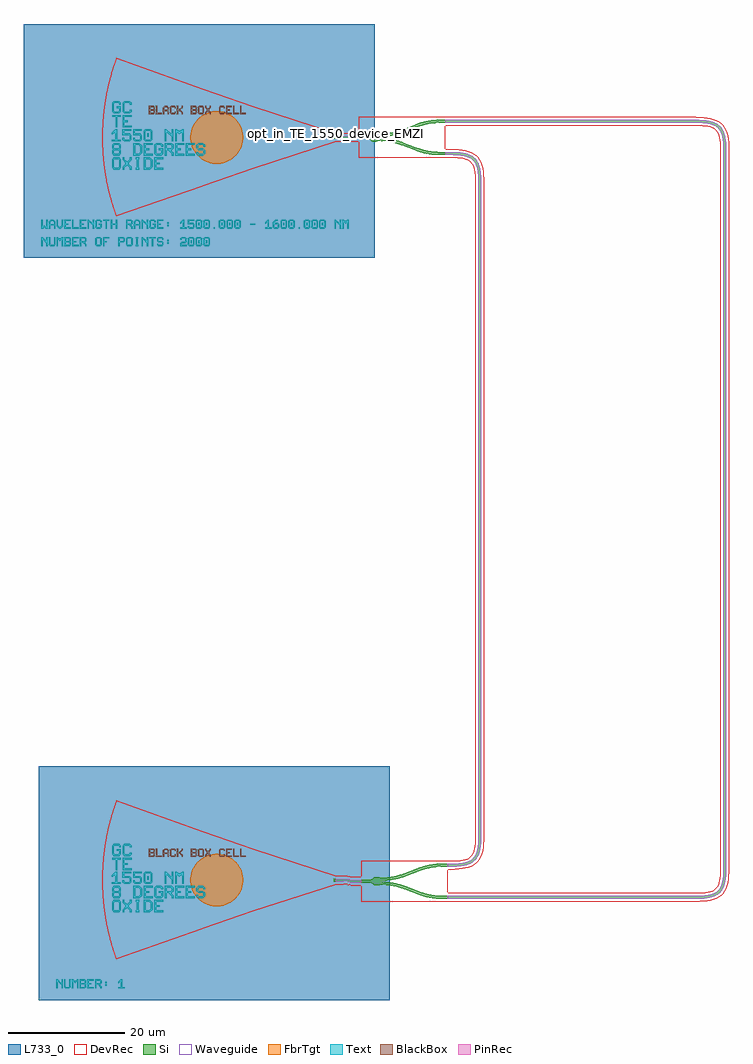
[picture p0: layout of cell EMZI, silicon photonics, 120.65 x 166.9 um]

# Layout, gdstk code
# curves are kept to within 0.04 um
import gdstk
lib = gdstk.Library(unit=1e-6, precision=1e-09)
def R(c, l, rs):  # rectangles x0, y0, x1, y1
    for r in rs: c.add(gdstk.rectangle(r[:2], r[2:], *l))
def A(c, l, x, y, w, h, nx, ny, dx, dy):  # array of equal rectangles
    R(c, l, [(x+i*dx, y+j*dy, x+i*dx+w, y+j*dy+h) for i in range(nx) for j in range(ny)])
def P(c, l, *ps):  # polygons
    for p in ps: c.add(gdstk.Polygon(p, *l))
Si = (1, 0)
PinRec = (1, 10)
Waveguide = (1, 99)
Text = (10, 0)
DevRec = (68, 0)
FbrTgt = (81, 0)
L733_0 = (733, 0)
BlackBox = (998, 0)

text = lib.new_cell('TEXT')
P(text, BlackBox, [(0,0),(0,1.4),(0.8,1.4),(1,1.2),(0.2,1.2),(0.2,0.8),(0.7,0.8),(0.8,0.9),(0.8,1.1),(0.7,1.2),(1,1.2),(1,0.8),(0.9,0.7),(1,0.6),(0.2,0.6),(0.2,0.2),(0.7,0.2),(0.8,0.3),(0.8,0.5),(0.7,0.6),(1,0.6),(1,0.2),(0.8,0)],
  [(1.2,0),(1.2,1.4),(1.4,1.4),(1.4,0.2),(2.2,0.2),(2.2,0)],
  [(2.4,0),(2.4,1.1),(2.7,1.4),(3.1,1.4),(3.3,1.2),(2.8,1.2),(2.6,1),(2.6,0.7),(3.2,0.7),(3.2,1),(3,1.2),(3.3,1.2),(3.4,1.1),(3.4,0),(3.2,0),(3.2,0.5),(2.6,0.5),(2.6,0)],
  [(3.8,0),(3.6,0.2),(3.6,1.2),(3.8,1.4),(4.4,1.4),(4.6,1.2),(4.6,1),(4.4,1),(4.4,1.1),(4.3,1.2),(3.9,1.2),(3.8,1.1),(3.8,0.3),(3.9,0.2),(4.3,0.2),(4.4,0.3),(4.4,0.4),(4.6,0.4),(4.6,0.2),(4.4,0)],
  [(4.8,0),(4.8,1.4),(5,1.4),(5,0.8),(5.2,0.8),(5.6,1.2),(5.6,1.4),(5.8,1.4),(5.8,1.1),(5.4,0.7),(5.8,0.3),(5.8,0),(5.6,0),(5.6,0.2),(5.2,0.6),(5,0.6),(5,0)],
  [(7.2,0),(7.2,1.4),(8,1.4),(8.2,1.2),(7.4,1.2),(7.4,0.8),(7.9,0.8),(8,0.9),(8,1.1),(7.9,1.2),(8.2,1.2),(8.2,0.8),(8.1,0.7),(8.2,0.6),(7.4,0.6),(7.4,0.2),(7.9,0.2),(8,0.3),(8,0.5),(7.9,0.6),(8.2,0.6),(8.2,0.2),(8,0)],
  [(8.6,0),(8.4,0.2),(8.4,1.2),(8.6,1.4),(9.2,1.4),(9.4,1.2),(9.4,0.7),(9.2,0.7),(9.2,1.1),(9.1,1.2),(8.7,1.2),(8.6,1.1),(8.6,0.3),(8.7,0.2),(9.1,0.2),(9.2,0.3),(9.2,0.7),(9.4,0.7),(9.4,0.2),(9.2,0)],
  [(9.6,0),(9.6,0.3),(9.9,0.6),(9.9,0.8),(9.6,1.1),(9.6,1.4),(9.8,1.4),(9.8,1.2),(10.1,0.9),(10.4,1.2),(10.4,1.4),(10.6,1.4),(10.6,1.1),(10.3,0.8),(10.3,0.6),(10.6,0.3),(10.6,0),(10.4,0),(10.4,0.2),(10.1,0.5),(9.8,0.2),(9.8,0)],
  [(12.2,0),(12,0.2),(12,1.2),(12.2,1.4),(12.8,1.4),(13,1.2),(13,1),(12.8,1),(12.8,1.1),(12.7,1.2),(12.3,1.2),(12.2,1.1),(12.2,0.3),(12.3,0.2),(12.7,0.2),(12.8,0.3),(12.8,0.4),(13,0.4),(13,0.2),(12.8,0)],
  [(13.2,0),(13.2,1.4),(14.2,1.4),(14.2,1.2),(13.4,1.2),(13.4,0.8),(13.8,0.8),(13.8,0.6),(13.4,0.6),(13.4,0.2),(14.2,0.2),(14.2,0)],
  [(14.4,0),(14.4,1.4),(14.6,1.4),(14.6,0.2),(15.4,0.2),(15.4,0)],
  [(15.6,0),(15.6,1.4),(15.8,1.4),(15.8,0.2),(16.6,0.2),(16.6,0)])

gc_te_1550_8degoxide_bb = lib.new_cell('GC_TE_1550_8degOxide_BB')
R(gc_te_1550_8degoxide_bb, Si, [(-0.4,-0.25,0,0.25)])
R(gc_te_1550_8degoxide_bb, Text, [(-32.313,0.092,-32.013,0.692)])
P(gc_te_1550_8degoxide_bb, Text, [(-37.67,1.71),(-37.67,3.51),(-38.27,3.51),(-38.27,3.81),(-36.77,3.81),(-36.77,3.51),(-37.37,3.51),(-37.37,1.71)],
  [(-37.97,-5.49),(-38.27,-5.19),(-38.27,-3.69),(-37.97,-3.39),(-37.07,-3.39),(-36.77,-3.69),(-36.77,-4.44),(-37.07,-4.44),(-37.07,-3.84),(-37.22,-3.69),(-37.82,-3.69),(-37.97,-3.84),(-37.97,-5.04),(-37.82,-5.19),(-37.22,-5.19),(-37.07,-5.04),(-37.07,-4.44),(-36.77,-4.44),(-36.77,-5.19),(-37.07,-5.49)],
  [(-31.07,-5.49),(-31.07,-3.39),(-29.57,-3.39),(-29.57,-3.69),(-30.77,-3.69),(-30.77,-4.29),(-30.17,-4.29),(-30.17,-4.59),(-30.77,-4.59),(-30.77,-5.19),(-29.57,-5.19),(-29.57,-5.49)],
  [(-32.87,-3.09),(-32.87,-0.99),(-31.37,-0.99),(-31.37,-1.29),(-32.57,-1.29),(-32.57,-1.89),(-31.97,-1.89),(-31.97,-2.19),(-32.57,-2.19),(-32.57,-2.79),(-31.37,-2.79),(-31.37,-3.09)],
  [(-27.47,-3.09),(-27.47,-0.99),(-25.97,-0.99),(-25.97,-1.29),(-27.17,-1.29),(-27.17,-1.89),(-26.57,-1.89),(-26.57,-2.19),(-27.17,-2.19),(-27.17,-2.79),(-25.97,-2.79),(-25.97,-3.09)],
  [(-25.67,-3.09),(-25.67,-0.99),(-24.17,-0.99),(-24.17,-1.29),(-25.37,-1.29),(-25.37,-1.89),(-24.77,-1.89),(-24.77,-2.19),(-25.37,-2.19),(-25.37,-2.79),(-24.17,-2.79),(-24.17,-3.09)],
  [(-36.47,1.71),(-36.47,3.81),(-34.97,3.81),(-34.97,3.51),(-36.17,3.51),(-36.17,2.91),(-35.57,2.91),(-35.57,2.61),(-36.17,2.61),(-36.17,2.01),(-34.97,2.01),(-34.97,1.71)],
  [(-29.313,-0.658),(-29.313,1.442),(-29.013,1.442),(-28.263,0.692),(-28.113,0.692),(-28.113,1.442),(-27.813,1.442),(-27.813,-0.658),(-28.113,-0.658),(-28.113,0.092),(-28.863,0.842),(-29.013,0.842),(-29.013,-0.658)],
  [(-34.22,-5.49),(-34.22,-5.19),(-34.07,-5.19),(-34.07,-3.69),(-34.22,-3.69),(-34.22,-3.39),(-33.62,-3.39),(-33.62,-3.69),(-33.77,-3.69),(-33.77,-5.19),(-33.62,-5.19),(-33.62,-5.49)],
  [(-36.17,4.11),(-36.47,4.41),(-36.47,5.91),(-36.17,6.21),(-35.27,6.21),(-34.97,5.91),(-34.97,5.61),(-35.27,5.61),(-35.27,5.76),(-35.42,5.91),(-36.02,5.91),(-36.17,5.76),(-36.17,4.56),(-36.02,4.41),(-35.42,4.41),(-35.27,4.56),(-35.27,4.71),(-34.97,4.71),(-34.97,4.41),(-35.27,4.11)],
  [(-27.513,-0.658),(-27.513,1.442),(-27.213,1.442),(-26.913,1.142),(-26.613,1.142),(-26.313,1.442),(-26.013,1.442),(-26.013,-0.658),(-26.313,-0.658),(-26.313,0.842),(-26.463,0.842),(-26.763,0.542),(-27.063,0.842),(-27.213,0.842),(-27.213,-0.658)],
  [(-32.613,-0.658),(-32.913,-0.358),(-32.913,1.142),(-32.613,1.442),(-31.713,1.442),(-31.413,1.142),(-32.463,1.142),(-32.613,0.992),(-32.613,-0.208),(-32.463,-0.358),(-31.863,-0.358),(-31.713,-0.208),(-31.713,0.992),(-31.863,1.142),(-31.413,1.142),(-31.413,-0.358),(-31.713,-0.658)],
  [(-32.87,-5.49),(-32.87,-3.39),(-31.82,-3.39),(-31.52,-3.69),(-32.57,-3.69),(-32.57,-5.19),(-31.97,-5.19),(-31.67,-4.89),(-31.67,-3.99),(-31.97,-3.69),(-31.52,-3.69),(-31.37,-3.84),(-31.37,-5.04),(-31.82,-5.49)],
  [(-34.67,-3.09),(-34.67,-0.99),(-33.62,-0.99),(-33.32,-1.29),(-34.37,-1.29),(-34.37,-2.79),(-33.77,-2.79),(-33.47,-2.49),(-33.47,-1.59),(-33.77,-1.29),(-33.32,-1.29),(-33.17,-1.44),(-33.17,-2.64),(-33.62,-3.09)],
  [(-23.57,-3.09),(-23.87,-2.79),(-23.87,-2.49),(-23.57,-2.49),(-23.57,-2.64),(-23.42,-2.79),(-22.82,-2.79),(-22.67,-2.64),(-22.67,-2.34),(-22.82,-2.19),(-23.57,-2.19),(-23.87,-1.89),(-23.87,-1.29),(-23.57,-0.99),(-22.67,-0.99),(-22.37,-1.29),(-22.37,-1.59),(-22.67,-1.59),(-22.67,-1.44),(-22.82,-1.29),(-23.42,-1.29),(-23.57,-1.44),(-23.57,-1.74),(-23.42,-1.89),(-22.67,-1.89),(-22.37,-2.19),(-22.37,-2.79),(-22.67,-3.09)],
  [(-36.213,-0.658),(-36.513,-0.358),(-36.513,-0.058),(-36.213,-0.058),(-36.213,-0.208),(-36.063,-0.358),(-35.463,-0.358),(-35.313,-0.208),(-35.313,0.242),(-35.463,0.392),(-36.513,0.392),(-36.513,1.442),(-35.013,1.442),(-35.013,1.142),(-36.213,1.142),(-36.213,0.692),(-35.313,0.692),(-35.013,0.392),(-35.013,-0.358),(-35.313,-0.658)],
  [(-34.413,-0.658),(-34.713,-0.358),(-34.713,-0.058),(-34.413,-0.058),(-34.413,-0.208),(-34.263,-0.358),(-33.663,-0.358),(-33.513,-0.208),(-33.513,0.242),(-33.663,0.392),(-34.713,0.392),(-34.713,1.442),(-33.213,1.442),(-33.213,1.142),(-34.413,1.142),(-34.413,0.692),(-33.513,0.692),(-33.213,0.392),(-33.213,-0.358),(-33.513,-0.658)],
  [(-37.97,-3.09),(-38.27,-2.79),(-38.27,-2.19),(-38.12,-2.04),(-38.27,-1.89),(-38.27,-1.29),(-37.97,-0.99),(-37.07,-0.99),(-36.77,-1.29),(-37.82,-1.29),(-37.97,-1.44),(-37.97,-1.74),(-37.82,-1.89),(-37.22,-1.89),(-37.07,-1.74),(-37.07,-1.44),(-37.22,-1.29),(-36.77,-1.29),(-36.77,-1.89),(-36.92,-2.04),(-36.77,-2.19),(-37.82,-2.19),(-37.97,-2.34),(-37.97,-2.64),(-37.82,-2.79),(-37.22,-2.79),(-37.07,-2.64),(-37.07,-2.34),(-37.22,-2.19),(-36.77,-2.19),(-36.77,-2.79),(-37.07,-3.09)],
  [(-38.313,-0.658),(-38.313,-0.358),(-37.713,-0.358),(-37.713,0.842),(-37.863,0.842),(-38.163,0.542),(-38.313,0.542),(-38.313,0.842),(-37.713,1.442),(-37.413,1.442),(-37.413,-0.358),(-36.813,-0.358),(-36.813,-0.658)],
  [(-36.47,-5.49),(-36.47,-5.04),(-36.02,-4.59),(-36.02,-4.29),(-36.47,-3.84),(-36.47,-3.39),(-36.17,-3.39),(-36.17,-3.69),(-35.72,-4.14),(-35.27,-3.69),(-35.27,-3.39),(-34.97,-3.39),(-34.97,-3.84),(-35.42,-4.29),(-35.42,-4.59),(-34.97,-5.04),(-34.97,-5.49),(-35.27,-5.49),(-35.27,-5.19),(-35.72,-4.74),(-36.17,-5.19),(-36.17,-5.49)],
  [(-30.77,-3.09),(-31.07,-2.79),(-31.07,-1.29),(-30.77,-0.99),(-29.87,-0.99),(-29.57,-1.29),(-29.57,-1.59),(-29.87,-1.59),(-29.87,-1.44),(-30.02,-1.29),(-30.62,-1.29),(-30.77,-1.44),(-30.77,-2.64),(-30.62,-2.79),(-30.02,-2.79),(-29.87,-2.64),(-29.87,-2.19),(-30.32,-2.19),(-30.32,-1.89),(-29.57,-1.89),(-29.57,-2.79),(-29.87,-3.09)],
  [(-37.97,4.11),(-38.27,4.41),(-38.27,5.91),(-37.97,6.21),(-37.07,6.21),(-36.77,5.91),(-36.77,5.61),(-37.07,5.61),(-37.07,5.76),(-37.22,5.91),(-37.82,5.91),(-37.97,5.76),(-37.97,4.56),(-37.82,4.41),(-37.22,4.41),(-37.07,4.56),(-37.07,5.01),(-37.52,5.01),(-37.52,5.31),(-36.77,5.31),(-36.77,4.41),(-37.07,4.11)],
  [(-29.27,-3.09),(-29.27,-0.99),(-28.07,-0.99),(-27.77,-1.29),(-28.97,-1.29),(-28.97,-1.89),(-28.22,-1.89),(-28.07,-1.74),(-28.07,-1.44),(-28.22,-1.29),(-27.77,-1.29),(-27.77,-1.89),(-28.07,-2.19),(-28.07,-2.34),(-27.77,-2.64),(-27.77,-3.09),(-28.07,-3.09),(-28.07,-2.79),(-28.67,-2.19),(-28.97,-2.19),(-28.97,-3.09)])
P(gc_te_1550_8degoxide_bb, DevRec, [(-37.607,-13.5),(-38.627,-10.245),(-39.378,-6.832),(-39.647,-5.058),(-39.835,-3.274),(-39.969,0.224),(-39.812,3.541),(-39.331,7.097),(-38.557,10.505),(-37.546,13.669),(-22.8,8.353),(-14.109,5.36),(0,0.75),(0,-0.75),(-14.109,-5.36)])
P(gc_te_1550_8degoxide_bb, FbrTgt, [(-20.621,-4.5),(-21.495,-4.37),(-22.326,-4.073),(-23.084,-3.619),(-23.738,-3.026),(-24.264,-2.316),(-24.642,-1.518),(-24.857,-0.661),(-24.9,0.221),(-24.77,1.095),(-24.473,1.926),(-24.019,2.684),(-23.426,3.338),(-22.716,3.864),(-21.918,4.242),(-21.061,4.457),(-20.179,4.5),(-19.305,4.37),(-18.474,4.073),(-17.716,3.619),(-17.062,3.026),(-16.536,2.316),(-16.158,1.518),(-15.943,0.661),(-15.9,-0.221),(-16.03,-1.095),(-16.327,-1.926),(-16.781,-2.684),(-17.374,-3.338),(-18.084,-3.864),(-18.882,-4.242),(-19.739,-4.457)])
gc_te_1550_8degoxide_bb.add(gdstk.FlexPath([(-0.01,0),(0.01,0)], 0.5, ends="flush", simple_path=True, layer=1, datatype=10))  # PinRec
gc_te_1550_8degoxide_bb.add(gdstk.Reference(text, (-32,4)))
gc_te_1550_8degoxide_bb.add(gdstk.Label('opt1', (0,0), layer=1, texttype=10))
gc_te_1550_8degoxide_bb.add(gdstk.Label('Lumerical_INTERCONNECT_library=Design kits/ebeam', (-29,-7), layer=68, texttype=0))
gc_te_1550_8degoxide_bb.add(gdstk.Label('Component=GC_TE_1550_8degOxide_BB', (-28,-5), layer=68, texttype=0))

ebeam_y_1550 = lib.new_cell('ebeam_y_1550')
R(ebeam_y_1550, Si, [(6.5,-3,7.4,-2.5), (-7.4,-0.25,-6,0.25), (6.5,2.5,7.4,3)])
P(ebeam_y_1550, Si, [(6.458,-3),(6.237,-2.997),(6.237,-2.497),(6.5,-2.5),(6.5,-3)],
  [(5.033,-2.908),(3.59,-2.634),(2.265,-2.21),(2.445,-1.744),(3.731,-2.154),(5.033,-2.404)],
  [(6.233,-2.997),(5.033,-2.908),(5.033,-2.404),(6.237,-2.497)],
  [(2.265,-2.21),(0.055,-1.356),(0.235,-0.89),(2.445,-1.744)],
  [(-0.762,-1.076),(-2.334,-0.724),(-4,-0.6),(-4,-0.1),(-2.381,-0.212),(-0.762,-0.555)],
  [(0.055,-1.356),(-0.762,-1.076),(-0.762,-0.555),(0.235,-0.89)],
  [(6.237,2.497),(6.237,2.997),(6.5,3),(6.5,2.5)],
  [(2.445,1.744),(2.267,2.211),(3.59,2.634),(5.033,2.908),(5.033,2.404),(3.731,2.154)],
  [(5.033,2.404),(5.033,2.908),(6.237,2.997),(6.237,2.497)],
  [(0.235,0.89),(0.055,1.356),(2.265,2.21),(2.445,1.744)],
  [(-4,0.1),(-4,0.6),(-2.334,0.724),(-0.762,1.076),(-0.762,0.555),(-2.381,0.212)],
  [(-0.762,0.555),(-0.762,1.076),(0.055,1.356),(0.235,0.89)],
  [(-5.122,-0.662),(-5.442,-0.374),(-5.808,-0.255),(-6,-0.25),(-6,0.25),(-5.817,0.253),(-5.442,0.374),(-5.122,0.662)],
  [(-4.957,-0.703),(-5.122,-0.662),(-5.122,0.662),(-4.538,0.703),(-4,0.6),(-4,-0.6),(-4.509,-0.701)])
R(ebeam_y_1550, DevRec, [(-7.4,-3.5,7.4,3.5)])
ebeam_y_1550.add(gdstk.FlexPath([(-7.35,0),(-7.45,0)], 0.5, ends="flush", simple_path=True, layer=1, datatype=10))  # PinRec
ebeam_y_1550.add(gdstk.FlexPath([(7.35,2.75),(7.45,2.75)], 0.5, ends="flush", simple_path=True, layer=1, datatype=10))  # PinRec
ebeam_y_1550.add(gdstk.FlexPath([(7.35,-2.75),(7.45,-2.75)], 0.5, ends="flush", simple_path=True, layer=1, datatype=10))  # PinRec
ebeam_y_1550.add(gdstk.Label('Ref: Y Zhang, Opt. Express, 21/1, 2013', (-7.5,-1), layer=10, texttype=0))
ebeam_y_1550.add(gdstk.Label('opt2', (7.4,2.75), layer=1, texttype=10))
ebeam_y_1550.add(gdstk.Label('opt3', (7.4,-2.75), layer=1, texttype=10))
ebeam_y_1550.add(gdstk.Label('opt1', (-7.4,0), layer=1, texttype=10))
ebeam_y_1550.add(gdstk.Label('Component=ebeam_y_1550', (-6,1.5), layer=68, texttype=0))
ebeam_y_1550.add(gdstk.Label('Lumerical_INTERCONNECT_library=Design kits/ebeam', (-6.86,-2.19), layer=68, texttype=0))

waveguide = lib.new_cell('Waveguide')
R(waveguide, Si, [(74.3,20.85,78.2,21.35)])
R(waveguide, Waveguide, [(74.3,20.85,78.2,21.35)])
R(waveguide, DevRec, [(74.3,20.35,78.2,21.85)])
waveguide.add(gdstk.FlexPath([(74.31,21.1),(74.29,21.1)], 0.5, ends="flush", simple_path=True, layer=1, datatype=10))  # PinRec
waveguide.add(gdstk.FlexPath([(78.19,21.1),(78.21,21.1)], 0.5, ends="flush", simple_path=True, layer=1, datatype=10))  # PinRec
waveguide.add(gdstk.Label('opt1', (74.3,21.1), layer=1, texttype=10))
waveguide.add(gdstk.Label('opt2', (78.2,21.1), layer=1, texttype=10))
waveguide.add(gdstk.Label('Lumerical_INTERCONNECT_library=Design kits/EBeam', (74.3,21), layer=68, texttype=0))
waveguide.add(gdstk.Label('Component=ebeam_wg_integral_1550', (74.3,21.2), layer=68, texttype=0))
waveguide.add(gdstk.Label('cellName=Waveguide', (74.3,21.3), layer=68, texttype=0))
waveguide.add(gdstk.Label('Spice_param:wg_length=0.000003900 wg_width=5e-07 points="[[74.3,21.1],[78.2,21.1]]" radius=5e-06', (74.3,21.1), layer=68, texttype=0))
waveguide.add(gdstk.Label('Length=3.900 (microns)', (74.3,20.5), layer=68, texttype=0))
waveguide.add(gdstk.Label('waveguide_type=Strip TE 1550 nm, w=500 nm', (74.3,20.9), layer=68, texttype=0))

waveguide_1 = lib.new_cell('Waveguide$1')
P(waveguide_1, Si, [(77.365,-106.35),(75.88,-106.163),(74.3,-106.15),(74.3,-105.65),(75.723,-105.654),(77.021,-105.837),(78.6,-105.85),(78.6,-106.35)])
P(waveguide_1, Waveguide, [(77.365,-106.35),(75.88,-106.163),(74.3,-106.15),(74.3,-105.65),(75.723,-105.654),(77.021,-105.837),(78.6,-105.85),(78.6,-106.35)])
P(waveguide_1, DevRec, [(77.355,-106.85),(76.737,-106.814),(75.837,-106.661),(74.3,-106.65),(74.3,-105.15),(75.707,-105.153),(77.064,-105.339),(78.6,-105.35),(78.6,-106.85)])
waveguide_1.add(gdstk.FlexPath([(74.31,-105.9),(74.29,-105.9)], 0.5, ends="flush", simple_path=True, layer=1, datatype=10))  # PinRec
waveguide_1.add(gdstk.FlexPath([(78.59,-106.1),(78.61,-106.1)], 0.5, ends="flush", simple_path=True, layer=1, datatype=10))  # PinRec
waveguide_1.add(gdstk.Label('s', (75.456,-105.9), layer=10, texttype=0))
waveguide_1.add(gdstk.Label('s', (77.445,-106.1), layer=10, texttype=0))
waveguide_1.add(gdstk.Label('s', (75.456,-105.9), layer=10, texttype=0))
waveguide_1.add(gdstk.Label('s', (77.445,-106.1), layer=10, texttype=0))
waveguide_1.add(gdstk.Label('s', (75.456,-105.9), layer=10, texttype=0))
waveguide_1.add(gdstk.Label('s', (77.445,-106.1), layer=10, texttype=0))
waveguide_1.add(gdstk.Label('opt1', (74.3,-105.9), layer=1, texttype=10))
waveguide_1.add(gdstk.Label('opt2', (78.6,-106.1), layer=1, texttype=10))
waveguide_1.add(gdstk.Label('Lumerical_INTERCONNECT_library=Design kits/EBeam', (74.3,-106), layer=68, texttype=0))
waveguide_1.add(gdstk.Label('Component=ebeam_wg_integral_1550', (74.3,-105.8), layer=68, texttype=0))
waveguide_1.add(gdstk.Label('cellName=Waveguide', (74.3,-105.7), layer=68, texttype=0))
waveguide_1.add(gdstk.Label('Spice_param:wg_length=0.000004316 wg_width=5e-07 points="[[74.3,-105.9],[76.45,-105.9],[76.45,-106.1],[78.6,-106.1]]" radius=5e-06', (74.3,-105.9), layer=68, texttype=0))
waveguide_1.add(gdstk.Label('Length=4.316 (microns)', (74.3,-106.5), layer=68, texttype=0))
waveguide_1.add(gdstk.Label('waveguide_type=Strip TE 1550 nm, w=500 nm', (74.3,-106.1), layer=68, texttype=0))

waveguide_2 = lib.new_cell('Waveguide$2')
P(waveguide_2, Si, [(93.4,-103.6),(93.4,-103.1),(95.107,-103.061),(96.097,-102.934),(96.994,-102.663),(97.647,-102.246),(98.11,-101.653),(98.386,-100.962),(98.579,-99.909),(98.649,-98.567),(98.64,13.982),(98.559,15.079),(98.385,15.963),(98.109,16.654),(97.723,17.173),(97.393,17.444),(96.993,17.664),(96.096,17.935),(94.921,18.073),(93,18.1),(93,18.6),(94.121,18.599),(95.513,18.527),(96.503,18.356),(97.322,18.061),(97.982,17.617),(98.48,17.011),(98.822,16.244),(99.031,15.314),(99.132,14.202),(99.149,-98.571),(99.077,-99.963),(98.866,-101.1),(98.481,-102.01),(97.983,-102.616),(97.323,-103.06),(96.35,-103.392),(95.143,-103.559)])
P(waveguide_2, Waveguide, [(93.4,-103.6),(93.4,-103.1),(95.107,-103.061),(96.097,-102.934),(96.994,-102.663),(97.647,-102.246),(98.11,-101.653),(98.386,-100.962),(98.579,-99.909),(98.649,-98.567),(98.64,13.982),(98.559,15.079),(98.385,15.963),(98.109,16.654),(97.723,17.173),(97.393,17.444),(96.993,17.664),(96.096,17.935),(94.921,18.073),(93,18.1),(93,18.6),(94.121,18.599),(95.513,18.527),(96.503,18.356),(97.322,18.061),(97.982,17.617),(98.48,17.011),(98.822,16.244),(99.031,15.314),(99.132,14.202),(99.149,-98.571),(99.077,-99.963),(98.866,-101.1),(98.481,-102.01),(97.983,-102.616),(97.323,-103.06),(96.35,-103.392),(95.143,-103.559)])
P(waveguide_2, DevRec, [(93.4,-104.1),(93.4,-102.6),(95.131,-102.557),(96.094,-102.424),(96.796,-102.204),(97.276,-101.907),(97.458,-101.725),(97.755,-101.245),(97.975,-100.543),(98.108,-99.58),(98.15,-98.35),(98.139,14),(98.052,15.095),(97.874,15.926),(97.614,16.509),(97.457,16.726),(97.058,17.065),(96.475,17.325),(95.644,17.503),(94.549,17.59),(93,17.6),(93,19.1),(93.905,19.1),(95.25,19.054),(96.409,18.891),(97.409,18.573),(98.249,18.048),(98.888,17.301),(99.304,16.378),(99.538,15.303),(99.639,14.052),(99.65,-98.35),(99.539,-100.302),(99.305,-101.377),(98.889,-102.3),(98.25,-103.047),(97.41,-103.572),(96.41,-103.89),(95.251,-104.053)])
waveguide_2.add(gdstk.FlexPath([(93.01,18.35),(92.99,18.35)], 0.5, ends="flush", simple_path=True, layer=1, datatype=10))  # PinRec
waveguide_2.add(gdstk.FlexPath([(93.41,-103.35),(93.39,-103.35)], 0.5, ends="flush", simple_path=True, layer=1, datatype=10))  # PinRec
waveguide_2.add(gdstk.Label('opt1', (93,18.35), layer=1, texttype=10))
waveguide_2.add(gdstk.Label('opt2', (93.4,-103.35), layer=1, texttype=10))
waveguide_2.add(gdstk.Label('Lumerical_INTERCONNECT_library=Design kits/EBeam', (93,18.25), layer=68, texttype=0))
waveguide_2.add(gdstk.Label('Component=ebeam_wg_integral_1550', (93,18.45), layer=68, texttype=0))
waveguide_2.add(gdstk.Label('cellName=Waveguide', (93,18.55), layer=68, texttype=0))
waveguide_2.add(gdstk.Label('Spice_param:wg_length=0.000129997 wg_width=5e-07 points="[[93.0,18.35],[98.9,18.35],[98.9,-103.35],[93.4,-103.35]]" radius=5e-06', (93,18.35), layer=68, texttype=0))
waveguide_2.add(gdstk.Label('Length=129.997 (microns)', (93,17.75), layer=68, texttype=0))
waveguide_2.add(gdstk.Label('waveguide_type=Strip TE 1550 nm, w=500 nm', (93,18.15), layer=68, texttype=0))

waveguide_3 = lib.new_cell('Waveguide$3')
P(waveguide_3, Si, [(93.4,-109.1),(93.4,-108.6),(136.629,-108.583),(138.141,-108.405),(139.103,-108.06),(139.467,-107.816),(139.765,-107.518),(140.205,-106.715),(140.459,-105.579),(140.55,-103.85),(140.55,18.85),(140.46,20.578),(140.206,21.714),(139.766,22.517),(139.468,22.815),(139.001,23.112),(137.997,23.434),(136.432,23.59),(93,23.6),(93,24.1),(135.8,24.1),(137.591,24.005),(138.833,23.725),(139.461,23.43),(139.883,23.116),(140.233,22.73),(140.511,22.272),(140.723,21.743),(140.905,20.98),(141.046,19.287),(141.05,-103.85),(140.955,-105.641),(140.675,-106.883),(140.447,-107.394),(140.151,-107.834),(139.783,-108.202),(139.343,-108.498),(138.832,-108.726),(138.249,-108.893),(136.651,-109.083)])
P(waveguide_3, Waveguide, [(93.4,-109.1),(93.4,-108.6),(136.629,-108.583),(138.141,-108.405),(139.103,-108.06),(139.467,-107.816),(139.765,-107.518),(140.205,-106.715),(140.459,-105.579),(140.55,-103.85),(140.55,18.85),(140.46,20.578),(140.206,21.714),(139.766,22.517),(139.468,22.815),(139.001,23.112),(137.997,23.434),(136.432,23.59),(93,23.6),(93,24.1),(135.8,24.1),(137.591,24.005),(138.833,23.725),(139.461,23.43),(139.883,23.116),(140.233,22.73),(140.511,22.272),(140.723,21.743),(140.905,20.98),(141.046,19.287),(141.05,-103.85),(140.955,-105.641),(140.675,-106.883),(140.447,-107.394),(140.151,-107.834),(139.783,-108.202),(139.343,-108.498),(138.832,-108.726),(138.249,-108.893),(136.651,-109.083)])
P(waveguide_3, DevRec, [(93.4,-109.6),(93.4,-108.1),(136.449,-108.09),(137.544,-108.003),(138.695,-107.705),(139.175,-107.408),(139.357,-107.226),(139.654,-106.746),(139.774,-106.426),(139.952,-105.595),(140.05,-103.85),(140.05,18.85),(139.953,20.594),(139.775,21.425),(139.515,22.008),(139.176,22.407),(138.696,22.704),(137.545,23.002),(135.8,23.1),(93,23.1),(93,24.6),(135.8,24.6),(137.753,24.488),(138.828,24.254),(139.751,23.838),(140.15,23.547),(140.789,22.8),(141.023,22.359),(141.341,21.359),(141.54,19.551),(141.55,-103.85),(141.438,-105.803),(141.204,-106.878),(140.788,-107.801),(140.497,-108.2),(139.75,-108.839),(138.827,-109.255),(138.309,-109.391),(137.15,-109.554),(135.8,-109.6)])
waveguide_3.add(gdstk.FlexPath([(93.41,-108.85),(93.39,-108.85)], 0.5, ends="flush", simple_path=True, layer=1, datatype=10))  # PinRec
waveguide_3.add(gdstk.FlexPath([(93.01,23.85),(92.99,23.85)], 0.5, ends="flush", simple_path=True, layer=1, datatype=10))  # PinRec
waveguide_3.add(gdstk.Label('opt1', (93.4,-108.85), layer=1, texttype=10))
waveguide_3.add(gdstk.Label('opt2', (93,23.85), layer=1, texttype=10))
waveguide_3.add(gdstk.Label('Lumerical_INTERCONNECT_library=Design kits/EBeam', (93.4,-108.95), layer=68, texttype=0))
waveguide_3.add(gdstk.Label('Component=ebeam_wg_integral_1550', (93.4,-108.75), layer=68, texttype=0))
waveguide_3.add(gdstk.Label('cellName=Waveguide', (93.4,-108.65), layer=68, texttype=0))
waveguide_3.add(gdstk.Label('Spice_param:wg_length=0.000224797 wg_width=5e-07 points="[[93.4,-108.85],[140.8,-108.85],[140.8,23.85],[93.0,23.85]]" radius=5e-06', (93.4,-108.85), layer=68, texttype=0))
waveguide_3.add(gdstk.Label('Length=224.797 (microns)', (93.4,-109.45), layer=68, texttype=0))
waveguide_3.add(gdstk.Label('waveguide_type=Strip TE 1550 nm, w=500 nm', (93.4,-109.05), layer=68, texttype=0))

text_1 = lib.new_cell('TEXT$1')
A(text_1, Text, 25.52, 0.55, 0.22, 0.44, 3, 1, 1.32, 0)
R(text_1, Text, [(21.56,0.44,21.78,0.66), (21.56,0.88,21.78,1.1)])
P(text_1, Text, [(0,0),(0,1.54),(0.22,1.54),(0.77,0.99),(0.88,0.99),(0.88,1.54),(1.1,1.54),(1.1,0),(0.88,0),(0.88,0.55),(0.33,1.1),(0.22,1.1),(0.22,0)],
  [(1.54,0),(1.32,0.22),(1.32,1.54),(1.54,1.54),(1.54,0.33),(1.65,0.22),(2.09,0.22),(2.2,0.33),(2.2,1.54),(2.42,1.54),(2.42,0.22),(2.2,0)],
  [(2.64,0),(2.64,1.54),(2.86,1.54),(3.08,1.32),(3.3,1.32),(3.52,1.54),(3.74,1.54),(3.74,0),(3.52,0),(3.52,1.1),(3.41,1.1),(3.19,0.88),(2.97,1.1),(2.86,1.1),(2.86,0)],
  [(3.96,0),(3.96,1.54),(4.84,1.54),(5.06,1.32),(4.18,1.32),(4.18,0.88),(4.73,0.88),(4.84,0.99),(4.84,1.21),(4.73,1.32),(5.06,1.32),(5.06,0.88),(4.95,0.77),(5.06,0.66),(4.18,0.66),(4.18,0.22),(4.73,0.22),(4.84,0.33),(4.84,0.55),(4.73,0.66),(5.06,0.66),(5.06,0.22),(4.84,0)],
  [(5.28,0),(5.28,1.54),(6.38,1.54),(6.38,1.32),(5.5,1.32),(5.5,0.88),(5.94,0.88),(5.94,0.66),(5.5,0.66),(5.5,0.22),(6.38,0.22),(6.38,0)],
  [(6.6,0),(6.6,1.54),(7.48,1.54),(7.7,1.32),(6.82,1.32),(6.82,0.88),(7.37,0.88),(7.48,0.99),(7.48,1.21),(7.37,1.32),(7.7,1.32),(7.7,0.88),(7.48,0.66),(7.48,0.55),(7.7,0.33),(7.7,0),(7.48,0),(7.48,0.22),(7.04,0.66),(6.82,0.66),(6.82,0)],
  [(9.46,0),(9.24,0.22),(9.24,1.32),(9.46,1.54),(10.12,1.54),(10.34,1.32),(10.34,0.77),(10.12,0.77),(10.12,1.21),(10.01,1.32),(9.57,1.32),(9.46,1.21),(9.46,0.33),(9.57,0.22),(10.01,0.22),(10.12,0.33),(10.12,0.77),(10.34,0.77),(10.34,0.22),(10.12,0)],
  [(10.56,0),(10.56,1.54),(11.66,1.54),(11.66,1.32),(10.78,1.32),(10.78,0.88),(11.22,0.88),(11.22,0.66),(10.78,0.66),(10.78,0)],
  [(13.2,0),(13.2,1.54),(14.08,1.54),(14.3,1.32),(14.3,0.88),(14.08,0.66),(13.42,0.66),(13.42,0.88),(13.97,0.88),(14.08,0.99),(14.08,1.21),(13.97,1.32),(13.42,1.32),(13.42,0)],
  [(14.74,0),(14.52,0.22),(14.52,1.32),(14.74,1.54),(15.4,1.54),(15.62,1.32),(15.62,0.77),(15.4,0.77),(15.4,1.21),(15.29,1.32),(14.85,1.32),(14.74,1.21),(14.74,0.33),(14.85,0.22),(15.29,0.22),(15.4,0.33),(15.4,0.77),(15.62,0.77),(15.62,0.22),(15.4,0)],
  [(16.17,0),(16.17,0.22),(16.28,0.22),(16.28,1.32),(16.17,1.32),(16.17,1.54),(16.61,1.54),(16.61,1.32),(16.5,1.32),(16.5,0.22),(16.61,0.22),(16.61,0)],
  [(17.16,0),(17.16,1.54),(17.38,1.54),(17.93,0.99),(18.04,0.99),(18.04,1.54),(18.26,1.54),(18.26,0),(18.04,0),(18.04,0.55),(17.49,1.1),(17.38,1.1),(17.38,0)],
  [(18.92,0),(18.92,1.32),(18.48,1.32),(18.48,1.54),(19.58,1.54),(19.58,1.32),(19.14,1.32),(19.14,0)],
  [(20.02,0),(19.8,0.22),(19.8,0.44),(20.02,0.44),(20.02,0.33),(20.13,0.22),(20.57,0.22),(20.68,0.33),(20.68,0.55),(20.57,0.66),(20.02,0.66),(19.8,0.88),(19.8,1.32),(20.02,1.54),(20.68,1.54),(20.9,1.32),(20.9,1.1),(20.68,1.1),(20.68,1.21),(20.57,1.32),(20.13,1.32),(20.02,1.21),(20.02,0.99),(20.13,0.88),(20.68,0.88),(20.9,0.66),(20.9,0.22),(20.68,0)],
  [(23.76,0),(23.76,0.55),(23.98,0.77),(24.53,0.77),(24.64,0.88),(24.64,1.21),(24.53,1.32),(24.09,1.32),(23.98,1.21),(23.98,1.1),(23.76,1.1),(23.76,1.32),(23.98,1.54),(24.64,1.54),(24.86,1.32),(24.86,0.77),(24.64,0.55),(24.09,0.55),(23.98,0.44),(23.98,0.22),(24.86,0.22),(24.86,0)],
  [(25.3,0),(25.08,0.22),(25.08,1.32),(25.3,1.54),(25.96,1.54),(26.18,1.32),(25.41,1.32),(25.3,1.21),(25.3,0.33),(25.41,0.22),(25.85,0.22),(25.96,0.33),(25.96,1.21),(25.85,1.32),(26.18,1.32),(26.18,0.22),(25.96,0)],
  [(26.62,0),(26.4,0.22),(26.4,1.32),(26.62,1.54),(27.28,1.54),(27.5,1.32),(26.73,1.32),(26.62,1.21),(26.62,0.33),(26.73,0.22),(27.17,0.22),(27.28,0.33),(27.28,1.21),(27.17,1.32),(27.5,1.32),(27.5,0.22),(27.28,0)],
  [(27.94,0),(27.72,0.22),(27.72,1.32),(27.94,1.54),(28.6,1.54),(28.82,1.32),(28.05,1.32),(27.94,1.21),(27.94,0.33),(28.05,0.22),(28.49,0.22),(28.6,0.33),(28.6,1.21),(28.49,1.32),(28.82,1.32),(28.82,0.22),(28.6,0)])

text_2 = lib.new_cell('TEXT$2')
A(text_2, Text, 30.8, 0.55, 0.22, 0.44, 3, 1, 1.32, 0)
A(text_2, Text, 45.32, 0.55, 0.22, 0.44, 3, 1, 1.32, 0)
R(text_2, Text, [(29.48,0,29.7,0.22), (44,0,44.22,0.22), (21.56,0.44,21.78,0.66), (26.84,0.55,27.06,0.99), (28.16,0.55,28.38,0.99), (41.36,0.55,41.58,0.99), (42.68,0.55,42.9,0.99), (35.75,0.66,36.63,0.88), (21.56,0.88,21.78,1.1)])
P(text_2, Text, [(0,0),(0,1.54),(0.22,1.54),(0.22,0.33),(0.33,0.33),(0.55,0.55),(0.77,0.33),(0.88,0.33),(0.88,1.54),(1.1,1.54),(1.1,0),(0.77,0),(0.55,0.22),(0.33,0)],
  [(1.32,0),(1.32,1.21),(1.65,1.54),(2.09,1.54),(2.31,1.32),(1.76,1.32),(1.54,1.1),(1.54,0.77),(2.2,0.77),(2.2,1.1),(1.98,1.32),(2.31,1.32),(2.42,1.21),(2.42,0),(2.2,0),(2.2,0.55),(1.54,0.55),(1.54,0)],
  [(3.08,0),(2.64,0.44),(2.64,1.54),(2.86,1.54),(2.86,0.55),(3.19,0.22),(3.52,0.55),(3.52,1.54),(3.74,1.54),(3.74,0.44),(3.3,0)],
  [(3.96,0),(3.96,1.54),(5.06,1.54),(5.06,1.32),(4.18,1.32),(4.18,0.88),(4.62,0.88),(4.62,0.66),(4.18,0.66),(4.18,0.22),(5.06,0.22),(5.06,0)],
  [(5.28,0),(5.28,1.54),(5.5,1.54),(5.5,0.22),(6.38,0.22),(6.38,0)],
  [(6.6,0),(6.6,1.54),(7.7,1.54),(7.7,1.32),(6.82,1.32),(6.82,0.88),(7.26,0.88),(7.26,0.66),(6.82,0.66),(6.82,0.22),(7.7,0.22),(7.7,0)],
  [(7.92,0),(7.92,1.54),(8.14,1.54),(8.69,0.99),(8.8,0.99),(8.8,1.54),(9.02,1.54),(9.02,0),(8.8,0),(8.8,0.55),(8.25,1.1),(8.14,1.1),(8.14,0)],
  [(9.46,0),(9.24,0.22),(9.24,1.32),(9.46,1.54),(10.12,1.54),(10.34,1.32),(10.34,1.1),(10.12,1.1),(10.12,1.21),(10.01,1.32),(9.57,1.32),(9.46,1.21),(9.46,0.33),(9.57,0.22),(10.01,0.22),(10.12,0.33),(10.12,0.66),(9.79,0.66),(9.79,0.88),(10.34,0.88),(10.34,0.22),(10.12,0)],
  [(11,0),(11,1.32),(10.56,1.32),(10.56,1.54),(11.66,1.54),(11.66,1.32),(11.22,1.32),(11.22,0)],
  [(11.88,0),(11.88,1.54),(12.1,1.54),(12.1,0.88),(12.76,0.88),(12.76,1.54),(12.98,1.54),(12.98,0),(12.76,0),(12.76,0.66),(12.1,0.66),(12.1,0)],
  [(14.52,0),(14.52,1.54),(15.4,1.54),(15.62,1.32),(14.74,1.32),(14.74,0.88),(15.29,0.88),(15.4,0.99),(15.4,1.21),(15.29,1.32),(15.62,1.32),(15.62,0.88),(15.4,0.66),(15.4,0.55),(15.62,0.33),(15.62,0),(15.4,0),(15.4,0.22),(14.96,0.66),(14.74,0.66),(14.74,0)],
  [(15.84,0),(15.84,1.21),(16.17,1.54),(16.61,1.54),(16.83,1.32),(16.28,1.32),(16.06,1.1),(16.06,0.77),(16.72,0.77),(16.72,1.1),(16.5,1.32),(16.83,1.32),(16.94,1.21),(16.94,0),(16.72,0),(16.72,0.55),(16.06,0.55),(16.06,0)],
  [(17.16,0),(17.16,1.54),(17.38,1.54),(17.93,0.99),(18.04,0.99),(18.04,1.54),(18.26,1.54),(18.26,0),(18.04,0),(18.04,0.55),(17.49,1.1),(17.38,1.1),(17.38,0)],
  [(18.7,0),(18.48,0.22),(18.48,1.32),(18.7,1.54),(19.36,1.54),(19.58,1.32),(19.58,1.1),(19.36,1.1),(19.36,1.21),(19.25,1.32),(18.81,1.32),(18.7,1.21),(18.7,0.33),(18.81,0.22),(19.25,0.22),(19.36,0.33),(19.36,0.66),(19.03,0.66),(19.03,0.88),(19.58,0.88),(19.58,0.22),(19.36,0)],
  [(19.8,0),(19.8,1.54),(20.9,1.54),(20.9,1.32),(20.02,1.32),(20.02,0.88),(20.46,0.88),(20.46,0.66),(20.02,0.66),(20.02,0.22),(20.9,0.22),(20.9,0)],
  [(23.76,0),(23.76,0.22),(24.2,0.22),(24.2,1.1),(24.09,1.1),(23.87,0.88),(23.76,0.88),(23.76,1.1),(24.2,1.54),(24.42,1.54),(24.42,0.22),(24.86,0.22),(24.86,0)],
  [(25.3,0),(25.08,0.22),(25.08,0.44),(25.3,0.44),(25.3,0.33),(25.41,0.22),(25.85,0.22),(25.96,0.33),(25.96,0.66),(25.85,0.77),(25.08,0.77),(25.08,1.54),(26.18,1.54),(26.18,1.32),(25.3,1.32),(25.3,0.99),(25.96,0.99),(26.18,0.77),(26.18,0.22),(25.96,0)],
  [(26.62,0),(26.4,0.22),(26.4,1.32),(26.62,1.54),(27.28,1.54),(27.5,1.32),(26.73,1.32),(26.62,1.21),(26.62,0.33),(26.73,0.22),(27.17,0.22),(27.28,0.33),(27.28,1.21),(27.17,1.32),(27.5,1.32),(27.5,0.22),(27.28,0)],
  [(27.94,0),(27.72,0.22),(27.72,1.32),(27.94,1.54),(28.6,1.54),(28.82,1.32),(28.05,1.32),(27.94,1.21),(27.94,0.33),(28.05,0.22),(28.49,0.22),(28.6,0.33),(28.6,1.21),(28.49,1.32),(28.82,1.32),(28.82,0.22),(28.6,0)],
  [(30.58,0),(30.36,0.22),(30.36,1.32),(30.58,1.54),(31.24,1.54),(31.46,1.32),(30.69,1.32),(30.58,1.21),(30.58,0.33),(30.69,0.22),(31.13,0.22),(31.24,0.33),(31.24,1.21),(31.13,1.32),(31.46,1.32),(31.46,0.22),(31.24,0)],
  [(31.9,0),(31.68,0.22),(31.68,1.32),(31.9,1.54),(32.56,1.54),(32.78,1.32),(32.01,1.32),(31.9,1.21),(31.9,0.33),(32.01,0.22),(32.45,0.22),(32.56,0.33),(32.56,1.21),(32.45,1.32),(32.78,1.32),(32.78,0.22),(32.56,0)],
  [(33.22,0),(33,0.22),(33,1.32),(33.22,1.54),(33.88,1.54),(34.1,1.32),(33.33,1.32),(33.22,1.21),(33.22,0.33),(33.33,0.22),(33.77,0.22),(33.88,0.33),(33.88,1.21),(33.77,1.32),(34.1,1.32),(34.1,0.22),(33.88,0)],
  [(38.28,0),(38.28,0.22),(38.72,0.22),(38.72,1.1),(38.61,1.1),(38.39,0.88),(38.28,0.88),(38.28,1.1),(38.72,1.54),(38.94,1.54),(38.94,0.22),(39.38,0.22),(39.38,0)],
  [(39.82,0),(39.6,0.22),(39.6,1.1),(40.04,1.54),(40.48,1.54),(40.48,1.32),(40.15,1.32),(39.93,1.1),(39.93,0.99),(40.48,0.99),(40.7,0.77),(39.93,0.77),(39.82,0.66),(39.82,0.33),(39.93,0.22),(40.37,0.22),(40.48,0.33),(40.48,0.66),(40.37,0.77),(40.7,0.77),(40.7,0.22),(40.48,0)],
  [(41.14,0),(40.92,0.22),(40.92,1.32),(41.14,1.54),(41.8,1.54),(42.02,1.32),(41.25,1.32),(41.14,1.21),(41.14,0.33),(41.25,0.22),(41.69,0.22),(41.8,0.33),(41.8,1.21),(41.69,1.32),(42.02,1.32),(42.02,0.22),(41.8,0)],
  [(42.46,0),(42.24,0.22),(42.24,1.32),(42.46,1.54),(43.12,1.54),(43.34,1.32),(42.57,1.32),(42.46,1.21),(42.46,0.33),(42.57,0.22),(43.01,0.22),(43.12,0.33),(43.12,1.21),(43.01,1.32),(43.34,1.32),(43.34,0.22),(43.12,0)],
  [(45.1,0),(44.88,0.22),(44.88,1.32),(45.1,1.54),(45.76,1.54),(45.98,1.32),(45.21,1.32),(45.1,1.21),(45.1,0.33),(45.21,0.22),(45.65,0.22),(45.76,0.33),(45.76,1.21),(45.65,1.32),(45.98,1.32),(45.98,0.22),(45.76,0)],
  [(46.42,0),(46.2,0.22),(46.2,1.32),(46.42,1.54),(47.08,1.54),(47.3,1.32),(46.53,1.32),(46.42,1.21),(46.42,0.33),(46.53,0.22),(46.97,0.22),(47.08,0.33),(47.08,1.21),(46.97,1.32),(47.3,1.32),(47.3,0.22),(47.08,0)],
  [(47.74,0),(47.52,0.22),(47.52,1.32),(47.74,1.54),(48.4,1.54),(48.62,1.32),(47.85,1.32),(47.74,1.21),(47.74,0.33),(47.85,0.22),(48.29,0.22),(48.4,0.33),(48.4,1.21),(48.29,1.32),(48.62,1.32),(48.62,0.22),(48.4,0)],
  [(50.16,0),(50.16,1.54),(50.38,1.54),(50.93,0.99),(51.04,0.99),(51.04,1.54),(51.26,1.54),(51.26,0),(51.04,0),(51.04,0.55),(50.49,1.1),(50.38,1.1),(50.38,0)],
  [(51.48,0),(51.48,1.54),(51.7,1.54),(51.92,1.32),(52.14,1.32),(52.36,1.54),(52.58,1.54),(52.58,0),(52.36,0),(52.36,1.1),(52.25,1.1),(52.03,0.88),(51.81,1.1),(51.7,1.1),(51.7,0)])

lumerical_interconnect_l = lib.new_cell('Lumerical_INTERCONNECT_Laser')
R(lumerical_interconnect_l, L733_0, [(-30,-20,30,20)])
lumerical_interconnect_l.add(gdstk.Reference(text_1, (-27,-18)))
lumerical_interconnect_l.add(gdstk.Reference(text_2, (-27,-15)))
lumerical_interconnect_l.add(gdstk.Label('Tunable Laser', (-27,16), layer=733, texttype=0))
lumerical_interconnect_l.add(gdstk.Label('Wavelength range: 1500.000 - 1600.000 nm', (-27,12), layer=733, texttype=0))
lumerical_interconnect_l.add(gdstk.Label('Number of points: 2000', (-27,8), layer=733, texttype=0))
lumerical_interconnect_l.add(gdstk.Label('Ignore optical IOs in simulations: 0', (-27,4), layer=733, texttype=0))

text_4 = lib.new_cell('TEXT$4')
R(text_4, Text, [(8.36,0.44,8.58,0.66), (8.36,0.88,8.58,1.1)])
P(text_4, Text, [(0,0),(0,1.54),(0.22,1.54),(0.77,0.99),(0.88,0.99),(0.88,1.54),(1.1,1.54),(1.1,0),(0.88,0),(0.88,0.55),(0.33,1.1),(0.22,1.1),(0.22,0)],
  [(1.54,0),(1.32,0.22),(1.32,1.54),(1.54,1.54),(1.54,0.33),(1.65,0.22),(2.09,0.22),(2.2,0.33),(2.2,1.54),(2.42,1.54),(2.42,0.22),(2.2,0)],
  [(2.64,0),(2.64,1.54),(2.86,1.54),(3.08,1.32),(3.3,1.32),(3.52,1.54),(3.74,1.54),(3.74,0),(3.52,0),(3.52,1.1),(3.41,1.1),(3.19,0.88),(2.97,1.1),(2.86,1.1),(2.86,0)],
  [(3.96,0),(3.96,1.54),(4.84,1.54),(5.06,1.32),(4.18,1.32),(4.18,0.88),(4.73,0.88),(4.84,0.99),(4.84,1.21),(4.73,1.32),(5.06,1.32),(5.06,0.88),(4.95,0.77),(5.06,0.66),(4.18,0.66),(4.18,0.22),(4.73,0.22),(4.84,0.33),(4.84,0.55),(4.73,0.66),(5.06,0.66),(5.06,0.22),(4.84,0)],
  [(5.28,0),(5.28,1.54),(6.38,1.54),(6.38,1.32),(5.5,1.32),(5.5,0.88),(5.94,0.88),(5.94,0.66),(5.5,0.66),(5.5,0.22),(6.38,0.22),(6.38,0)],
  [(6.6,0),(6.6,1.54),(7.48,1.54),(7.7,1.32),(6.82,1.32),(6.82,0.88),(7.37,0.88),(7.48,0.99),(7.48,1.21),(7.37,1.32),(7.7,1.32),(7.7,0.88),(7.48,0.66),(7.48,0.55),(7.7,0.33),(7.7,0),(7.48,0),(7.48,0.22),(7.04,0.66),(6.82,0.66),(6.82,0)],
  [(10.56,0),(10.56,0.22),(11,0.22),(11,1.1),(10.89,1.1),(10.67,0.88),(10.56,0.88),(10.56,1.1),(11,1.54),(11.22,1.54),(11.22,0.22),(11.66,0.22),(11.66,0)])

lumerical_interconnect_d = lib.new_cell('Lumerical_INTERCONNECT_Detector')
R(lumerical_interconnect_d, L733_0, [(-30,-20,30,20)])
lumerical_interconnect_d.add(gdstk.Reference(text_4, (-27,-18)))
lumerical_interconnect_d.add(gdstk.Label('Detector', (-27,16), layer=733, texttype=0))
lumerical_interconnect_d.add(gdstk.Label('Detector Number: 1', (-27,12), layer=733, texttype=0))
lumerical_interconnect_d.add(gdstk.Label('LumericalINTERCONNECT_Detector 1', (0,0), layer=733, texttype=0))

emzi = lib.new_cell('EMZI')
r = gdstk.Reference(gc_te_1550_8degoxide_bb, (74.3,-105.9)); r.repetition = gdstk.Repetition(1, 2, v1=(0,0), v2=(0,127)); emzi.add(r)
emzi.add(gdstk.Reference(ebeam_y_1550, (85.6,21.1)))
emzi.add(gdstk.Reference(ebeam_y_1550, (86,-106.1)))
emzi.add(gdstk.Reference(waveguide, (0,0)))
emzi.add(gdstk.Reference(waveguide_1, (0,0)))
emzi.add(gdstk.Reference(waveguide_2, (0,0)))
emzi.add(gdstk.Reference(waveguide_3, (0,0)))
emzi.add(gdstk.Reference(lumerical_interconnect_l, (50.9,20.5)))
emzi.add(gdstk.Reference(lumerical_interconnect_d, (53.5,-106.4)))
emzi.add(gdstk.Label('opt_in_TE_1550_device_EMZI', (74.3,21.85), layer=10, texttype=0))

lib.write_gds('EMZI.gds')
